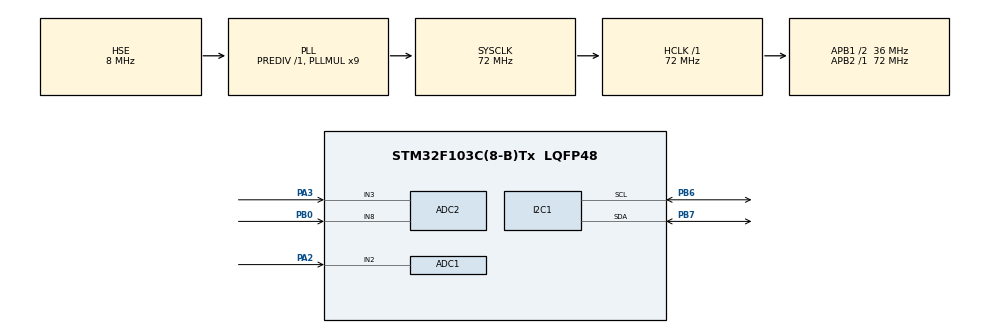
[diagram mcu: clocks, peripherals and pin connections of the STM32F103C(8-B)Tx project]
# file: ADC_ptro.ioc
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ADC1.Channel-2\#ChannelRegularConversion=ADC_CHANNEL_2
ADC1.ContinuousConvMode=DISABLE
ADC1.EnableInjectedConversion=DISABLE
ADC1.NbrOfConversionFlag=1
ADC1.Rank-2\#ChannelRegularConversion=1
ADC1.SamplingTime-2\#ChannelRegularConversion=ADC_SAMPLETIME_55CYCLES_5
ADC1.master=1
ADC2.Channel-0\#ChannelRegularConversion=ADC_CHANNEL_3
ADC2.ContinuousConvMode=DISABLE
ADC2.NbrOfConversionFlag=1
ADC2.Rank-0\#ChannelRegularConversion=1
ADC2.SamplingTime-0\#ChannelRegularConversion=ADC_SAMPLETIME_55CYCLES_5
Mcu.Family=STM32F1
Mcu.Name=STM32F103C(8-B)Tx
Mcu.Package=LQFP48
NVIC.PriorityGroup=NVIC_PRIORITYGROUP_4
PA13.Mode=Serial_Wire
PA13.Signal=SYS_JTMS-SWDIO
PA14.Mode=Serial_Wire
PA14.Signal=SYS_JTCK-SWCLK
PA2.Signal=ADCx_IN2
PA3.Signal=ADCx_IN3
PB0.Signal=ADCx_IN8
PB6.Mode=I2C
PB6.Signal=I2C1_SCL
PB7.Mode=I2C
PB7.Signal=I2C1_SDA
PD0-OSC_IN.Mode=HSE-External-Oscillator
PD0-OSC_IN.Signal=RCC_OSC_IN
PD1-OSC_OUT.Mode=HSE-External-Oscillator
PD1-OSC_OUT.Signal=RCC_OSC_OUT
ProjectManager.HeapSize=0x200
ProjectManager.StackSize=0x400
ProjectManager.TargetToolchain=MDK-ARM V5
RCC.ADCPresc=RCC_ADCPCLK2_DIV6
RCC.AHBFreq_Value=72000000
RCC.APB1CLKDivider=RCC_HCLK_DIV2
RCC.APB1Freq_Value=36000000
RCC.APB1TimFreq_Value=72000000
RCC.APB2Freq_Value=72000000
RCC.APB2TimFreq_Value=72000000
RCC.HCLKFreq_Value=72000000
RCC.PLLMUL=RCC_PLL_MUL9
RCC.PLLSourceVirtual=RCC_PLLSOURCE_HSE
RCC.SYSCLKFreq_VALUE=72000000
RCC.SYSCLKSource=RCC_SYSCLKSOURCE_PLLCLK
RCC.USBFreq_Value=72000000
SH.ADCx_IN2.0=ADC1_IN2,IN2
SH.ADCx_IN3.0=ADC2_IN3,IN3
SH.ADCx_IN8.0=ADC2_IN8,IN8
board=custom

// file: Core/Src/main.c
/* USER CODE BEGIN Header */
/**
  ******************************************************************************
  * @file           : main.c
  * @brief          : Main program body
  ******************************************************************************
  * @attention
  *
  * Copyright (c) 2023 STMicroelectronics.
  * All rights reserved.
  *
  * This software is licensed under terms that can be found in the LICENSE file
  * in the root directory of this software component.
  * If no LICENSE file comes with this software, it is provided AS-IS.
  *
  ******************************************************************************
  */
/* USER CODE END Header */
#include "main.h"

/* USER CODE BEGIN Includes */
#include "i2c-lcd.h"
#include "stdio.h"
/* USER CODE END Includes */

ADC_HandleTypeDef hadc1;
ADC_HandleTypeDef hadc2;

I2C_HandleTypeDef hi2c1;

void SystemClock_Config(void);
static void MX_GPIO_Init(void);
static void MX_ADC1_Init(void);
static void MX_I2C1_Init(void);
static void MX_ADC2_Init(void);
/* USER CODE BEGIN PFP */

uint32_t adc1_value = 0;
uint32_t adc2_value = 0;

void Display_Light(int Light)
	{

		char str[20] = {0};
		lcd_put_cur(0,0);
		sprintf(str, "L:%d",Light);
		lcd_send_string(str);
		lcd_send_string("Lux");
}
	////////
void Display_Lux(int Lux_value)
	{

		char str[20] = {0};
		lcd_put_cur(0,10);
		sprintf(str, "L:%d",Lux_value);
		lcd_send_string(str);
		lcd_send_string("Lux");
}

/*
void HAL_ADC_ConvCpltCallback(ADC_HandleTypeDef* hadc) {
    if (hadc == &hadc1) {
        // Ð?c d? li?u t? ADC1 và c?p nh?t lên LCD
        adc1_value = HAL_ADC_GetValue(hadc);
        Display_Light(adc1_value); // G?i hàm hi?n th? giá tr? Light lên LCD
    } else if (hadc == &hadc2) {
        // Ð?c d? li?u t? ADC2 và c?p nh?t lên LCD
        adc2_value = HAL_ADC_GetValue(hadc);
        Display_Lux(adc2_value); // G?i hàm hi?n th? giá tr? Lux lên LCD
    }
}
*/
/* USER CODE END PFP */

int main(void)
{

  /* MCU Configuration--------------------------------------------------------*/

  /* Reset of all peripherals, Initializes the Flash interface and the Systick. */
  HAL_Init();

  /* Configure the system clock */
  SystemClock_Config();

  /* Initialize all configured peripherals */
  MX_GPIO_Init();
  MX_ADC1_Init();
  MX_I2C1_Init();
  MX_ADC2_Init();
  /* USER CODE BEGIN 2 */
	lcd_init();
	lcd_send_string("Waiting.."); //display string on lcd
	HAL_Delay(2000); //wait for 2 seconds
	lcd_clear();
  /* USER CODE END 2 */

  /* Infinite loop */
  while (1)
  {
			HAL_ADC_Start(&hadc1);
		HAL_ADC_PollForConversion(&hadc1, HAL_MAX_DELAY);
		uint32_t adc1_value = HAL_ADC_GetValue(&hadc1);
    Display_Light(adc1_value);
		HAL_Delay(500);
		HAL_ADC_Start(&hadc2);
		HAL_ADC_PollForConversion(&hadc2, HAL_MAX_DELAY);
		uint32_t adc2_value = HAL_ADC_GetValue(&hadc2);
    Display_Lux(adc2_value);
  }
}

void SystemClock_Config(void)
{
  RCC_OscInitTypeDef RCC_OscInitStruct = {0};
  RCC_ClkInitTypeDef RCC_ClkInitStruct = {0};

  /** Initializes the RCC Oscillators according to the specified parameters
  * in the RCC_OscInitTypeDef structure.
  */
  RCC_OscInitStruct.OscillatorType = RCC_OSCILLATORTYPE_HSE;
  RCC_OscInitStruct.HSEState = RCC_HSE_ON;
  RCC_OscInitStruct.HSEPredivValue = RCC_HSE_PREDIV_DIV1;
  RCC_OscInitStruct.HSIState = RCC_HSI_ON;
  RCC_OscInitStruct.PLL.PLLState = RCC_PLL_ON;
  RCC_OscInitStruct.PLL.PLLSource = RCC_PLLSOURCE_HSE;
  RCC_OscInitStruct.PLL.PLLMUL = RCC_PLL_MUL9;
  if (HAL_RCC_OscConfig(&RCC_OscInitStruct) != HAL_OK)
  {
    Error_Handler();
  }

  /** Initializes the CPU, AHB and APB buses clocks
  */
  RCC_ClkInitStruct.ClockType = RCC_CLOCKTYPE_HCLK|RCC_CLOCKTYPE_SYSCLK
                              |RCC_CLOCKTYPE_PCLK1|RCC_CLOCKTYPE_PCLK2;
  RCC_ClkInitStruct.SYSCLKSource = RCC_SYSCLKSOURCE_PLLCLK;
  RCC_ClkInitStruct.AHBCLKDivider = RCC_SYSCLK_DIV1;
  RCC_ClkInitStruct.APB1CLKDivider = RCC_HCLK_DIV2;
  RCC_ClkInitStruct.APB2CLKDivider = RCC_HCLK_DIV1;

  if (HAL_RCC_ClockConfig(&RCC_ClkInitStruct, FLASH_LATENCY_2) != HAL_OK)
  {
    Error_Handler();
  }

}

static void MX_ADC1_Init(void)
{

  ADC_ChannelConfTypeDef sConfig = {0};

  /* USER CODE BEGIN ADC1_Init 1 */
	 __HAL_RCC_ADC1_CLK_ENABLE();
  /* USER CODE END ADC1_Init 1 */

  /** Common config
  */
  hadc1.Instance = ADC1;
  hadc1.Init.ScanConvMode = ADC_SCAN_DISABLE;
  hadc1.Init.ContinuousConvMode = DISABLE;
  hadc1.Init.DiscontinuousConvMode = DISABLE;
  hadc1.Init.ExternalTrigConv = ADC_SOFTWARE_START;
  hadc1.Init.DataAlign = ADC_DATAALIGN_RIGHT;
  hadc1.Init.NbrOfConversion = 1;
  if (HAL_ADC_Init(&hadc1) != HAL_OK)
  {
    Error_Handler();
  }

  /** Configure Regular Channel
  */
  sConfig.Channel = ADC_CHANNEL_2;
  sConfig.Rank = ADC_REGULAR_RANK_1;
  sConfig.SamplingTime = ADC_SAMPLETIME_55CYCLES_5;
  if (HAL_ADC_ConfigChannel(&hadc1, &sConfig) != HAL_OK)
  {
    Error_Handler();
  }

}

static void MX_ADC2_Init(void)
{

  ADC_ChannelConfTypeDef sConfig = {0};

  /* USER CODE BEGIN ADC2_Init 1 */
	 __HAL_RCC_ADC2_CLK_ENABLE();
  /* USER CODE END ADC2_Init 1 */

  /** Common config
  */
  hadc2.Instance = ADC2;
  hadc2.Init.ScanConvMode = ADC_SCAN_DISABLE;
  hadc2.Init.ContinuousConvMode = DISABLE;
  hadc2.Init.DiscontinuousConvMode = DISABLE;
  hadc2.Init.ExternalTrigConv = ADC_SOFTWARE_START;
  hadc2.Init.DataAlign = ADC_DATAALIGN_RIGHT;
  hadc2.Init.NbrOfConversion = 1;
  if (HAL_ADC_Init(&hadc2) != HAL_OK)
  {
    Error_Handler();
  }

  /** Configure Regular Channel
  */
  sConfig.Channel = ADC_CHANNEL_3;
  sConfig.Rank = ADC_REGULAR_RANK_1;
  sConfig.SamplingTime = ADC_SAMPLETIME_55CYCLES_5;
  if (HAL_ADC_ConfigChannel(&hadc2, &sConfig) != HAL_OK)
  {
    Error_Handler();
  }

}

static void MX_I2C1_Init(void)
{

  hi2c1.Instance = I2C1;
  hi2c1.Init.ClockSpeed = 100000;
  hi2c1.Init.DutyCycle = I2C_DUTYCYCLE_2;
  hi2c1.Init.OwnAddress1 = 0;
  hi2c1.Init.AddressingMode = I2C_ADDRESSINGMODE_7BIT;
  hi2c1.Init.DualAddressMode = I2C_DUALADDRESS_DISABLE;
  hi2c1.Init.OwnAddress2 = 0;
  hi2c1.Init.GeneralCallMode = I2C_GENERALCALL_DISABLE;
  hi2c1.Init.NoStretchMode = I2C_NOSTRETCH_DISABLE;
  if (HAL_I2C_Init(&hi2c1) != HAL_OK)
  {
    Error_Handler();
  }

}

static void MX_GPIO_Init(void)
{

  /* GPIO Ports Clock Enable */
  __HAL_RCC_GPIOD_CLK_ENABLE();
  __HAL_RCC_GPIOA_CLK_ENABLE();
  __HAL_RCC_GPIOB_CLK_ENABLE();

/* USER CODE BEGIN MX_GPIO_Init_2 */
	GPIO_InitTypeDef GPIO_InitStruct = {0};

/* USER CODE END MX_GPIO_Init_2 */
}

void Error_Handler(void)
{
  __disable_irq();
  while (1)
  {
  }
}
